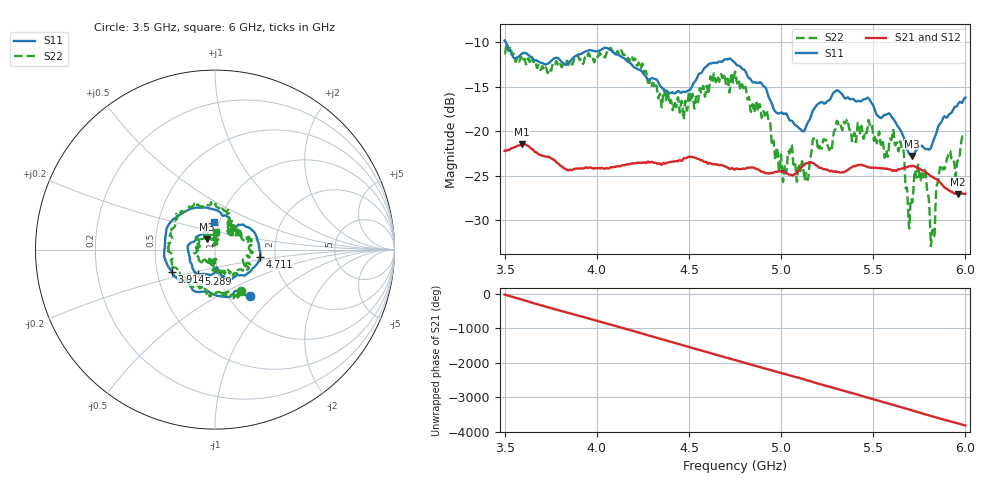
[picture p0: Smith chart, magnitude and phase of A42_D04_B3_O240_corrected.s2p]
! Created with skrf 1.9.0 (http://scikit-rf.org).
# Hz S RI R 50.0
!freq ReS11 ImS11 ReS21 ImS21 ReS12 ImS12 ReS22 ImS22
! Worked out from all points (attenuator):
!   1601 points, 3.5 GHz to 6 GHz, reference 50 ohm
!   highest |S21| = -21.44 dB at 3.594 GHz (marker M1); lowest = -27.1 dB at 5.959 GHz (marker M2)
!   lowest |S11| = -22.8 dB at 5.711 GHz (marker M3), VSWR 1.16, Z = 45.5 + j5.31 ohm
!   |S11| at or under -10 dB: 3.506 GHz to end of sweep
!   |S22| runs from -32.9 to -10.3 dB; largest |S21 - S12| = 0.0011
!   S11 on the Smith chart (normalised r, x): 3.5 GHz: 1.26, -0.72; 3.914 GHz: 0.60, -0.16; 4.711 GHz: 1.66, -0.14; 5.289 GHz: 0.80, -0.23; 6 GHz: 0.95, +0.30
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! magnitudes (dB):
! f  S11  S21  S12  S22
! 3.5 GHz  -9.8  -22.2  -22.2  -11.3
! 3.594 GHz  -11.3  -21.4  -21.4  -11.9
! 3.914 GHz  -11.3  -24.2  -24.1  -11.9
! 3.917 GHz  -11.3  -24.2  -24.1  -12.0
! 4.139 GHz  -11.7  -23.8  -23.8  -11.3
! 4.334 GHz  -14.6  -23.6  -23.5  -16.3
! 4.711 GHz  -11.9  -24.1  -24.0  -14.1
! 4.75 GHz  -12.3  -24.3  -24.2  -13.3
! 4.928 GHz  -15.8  -24.7  -24.7  -18.4
! 5.017 GHz  -18.0  -24.6  -24.5  -24.3
! 5.138 GHz  -19.3  -23.6  -23.5  -24.9
! 5.167 GHz  -18.0  -23.6  -23.5  -21.8
! 5.289 GHz  -15.6  -24.6  -24.5  -20.0
! 5.584 GHz  -18.0  -24.3  -24.2  -21.9
! 5.655 GHz  -20.2  -24.2  -24.1  -22.0
! 5.688 GHz  -22.2  -24.0  -24.0  -27.9
! 5.711 GHz  -22.8  -23.9  -23.8  -28.0
! 5.775 GHz  -21.9  -24.5  -24.4  -24.9
! 5.822 GHz  -21.3  -25.1  -25.1  -31.1
! 5.862 GHz  -19.2  -25.8  -25.7  -24.0
! 5.959 GHz  -17.0  -27.1  -27.0  -23.2
! 6 GHz  -16.2  -27.0  -26.9  -20.4
